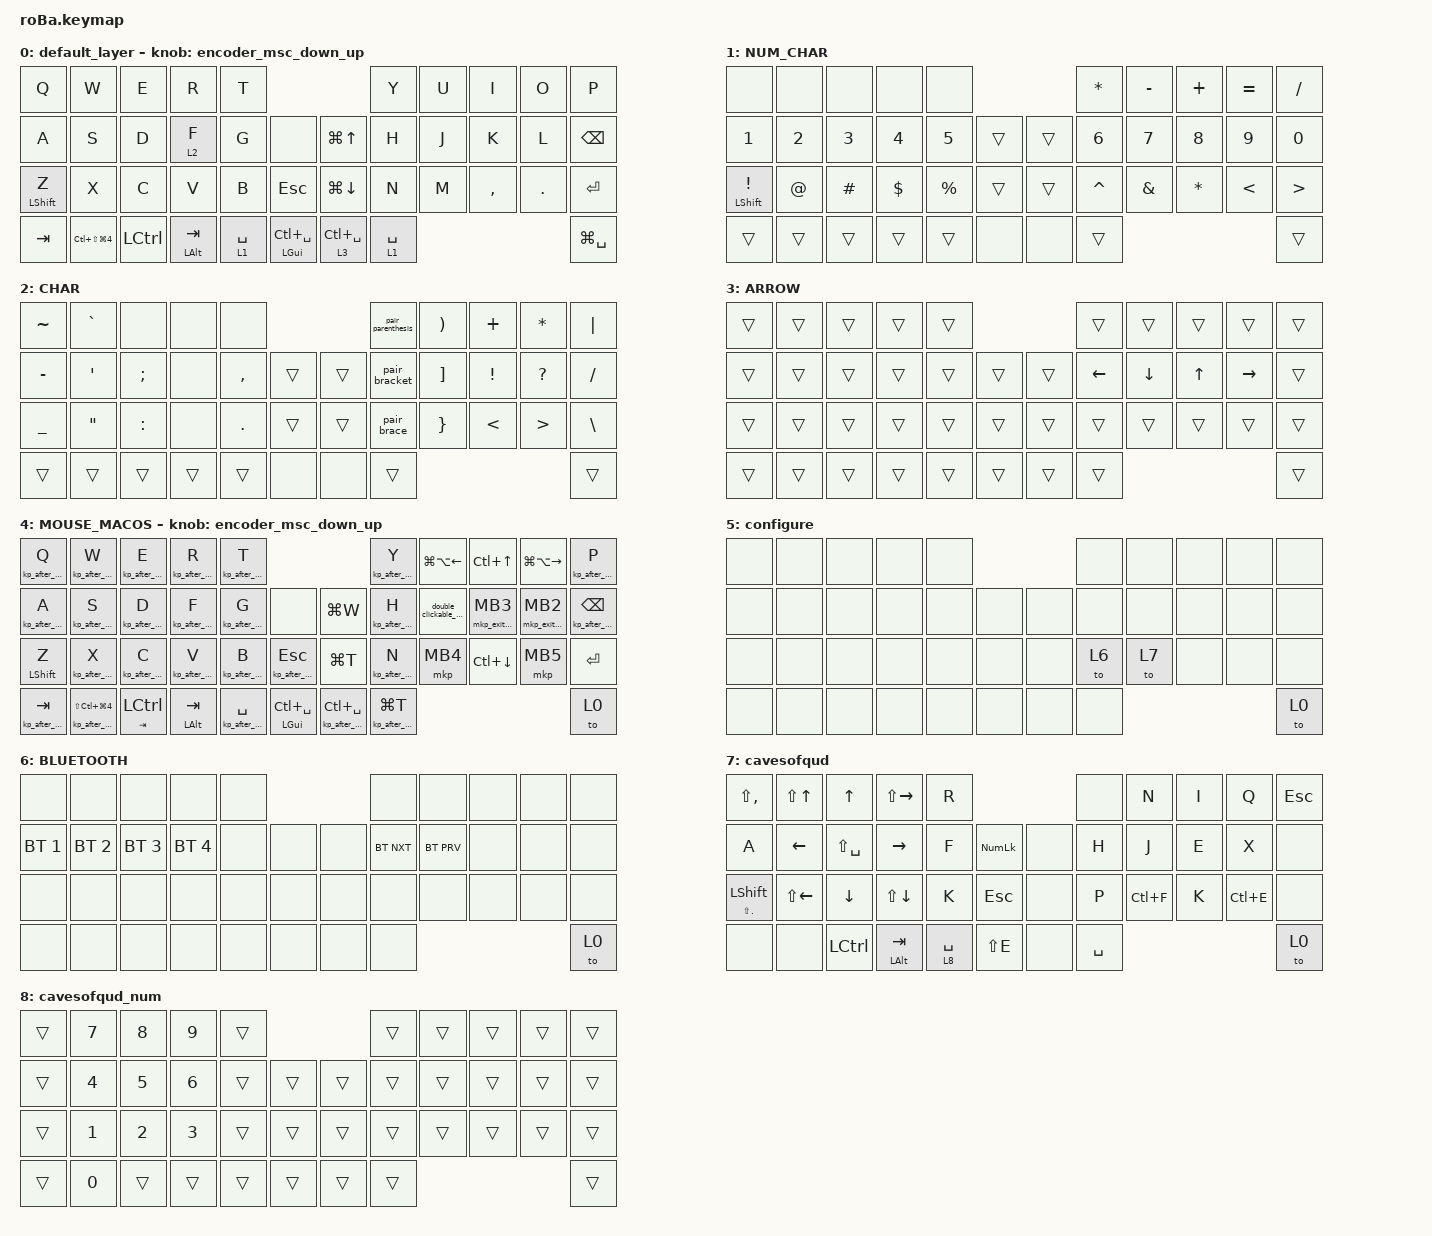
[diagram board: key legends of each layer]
#include <behaviors.dtsi>
#include <dt-bindings/zmk/bt.h>
#include <dt-bindings/zmk/keys.h>
#include <dt-bindings/zmk/pointing.h>

#define MOUSE 4
#define SCROLL 5
#define NUM 6
#define ZMK_POINTING_DEFAULT_SCRL_VAL 80

/ {
    combos {
        compatible = "zmk,combos";

        semicolon {
            bindings = <&kp SEMI>;
            key-positions = <18 19>;
        };

        to_conf {
            bindings = <&sl 5>;
            key-positions = <40 39>;
        };
    };

    macros {
        mkp_exit_AML: mkp_exit_AML {
            compatible = "zmk,behavior-macro-one-param";
            #binding-cells = <1>;
            bindings = <&macro_param_1to1 &mkp MACRO_PLACEHOLDER &exit_AML_250>;
            label = "MKP_EXIT_AML";
        };

        exit_AML_250: exit_AML_250 {
            compatible = "zmk,behavior-macro";
            wait-ms = <0>;
            tap-ms = <0>;
            #binding-cells = <0>;
            bindings = <&macro_wait_time 250>, <&exit_AML>;

            label = "exit_AML_250";
        };

        kp_after_exit_AML: kp_exit_AML {
            compatible = "zmk,behavior-macro-one-param";
            wait-ms = <0>;
            tap-ms = <0>;
            #binding-cells = <1>;
            bindings = <&exit_AML &macro_param_1to1 &kp MACRO_PLACEHOLDER>;
            label = "KP_exit_AML";
        };

        pair_bracket: bracket {
            compatible = "zmk,behavior-macro";
            #binding-cells = <0>;
            bindings = <&kp LEFT_BRACKET &kp RIGHT_BRACKET &kp LEFT>;
            label = "BRACKET";
        };

        pair_brace: brace {
            compatible = "zmk,behavior-macro";
            #binding-cells = <0>;
            bindings = <&kp LEFT_BRACE &kp RIGHT_BRACE &kp LEFT>;
            label = "BRACE";
        };

        pair_parenthesis: new_macro {
            compatible = "zmk,behavior-macro";
            #binding-cells = <0>;
            bindings = <&kp LEFT_PARENTHESIS &kp RIGHT_PARENTHESIS &kp LEFT>;
            label = "NEW_MACRO";
        };

        mkp_exit_AML_draggable: mkp_exit_AML_draggable {
            compatible = "zmk,behavior-macro-one-param";
            #binding-cells = <1>;
            bindings =
                <&macro_press>,
                <&macro_param_1to1 &mkp MACRO_PLACEHOLDER>,
                <&macro_pause_for_release>,
                <&macro_release>,
                <&macro_param_1to1 &mkp MACRO_PLACEHOLDER>,
                <&macro_tap>,
                <&exit_AML_250>;

            label = "MKP_EXIT_AML_DRAGGABLE";
        };

        exit_AML: exit_AML {
            compatible = "zmk,behavior-macro";
            wait-ms = <0>;
            tap-ms = <0>;
            #binding-cells = <0>;
            bindings = <&tog_off 4>;
            label = "EXIT_AML";
        };

        doubleclick_exit_AML: double_click {
            compatible = "zmk,behavior-macro";
            #binding-cells = <0>;
            bindings = <&mkp MB1 &mkp MB1 &exit_AML_250>;
            label = "DOUBLE_CLICK";
        };
    };

    behaviors {
        encoder_msc_down_up: encoder_msc_down_up {
            compatible = "zmk,behavior-sensor-rotate";
            label = "ENCODER_MSC_DOWN_UP";
            #sensor-binding-cells = <0>;
            bindings = <&msc SCRL_DOWN>, <&msc SCRL_UP>;

            tap-ms = <20>;
        };

        tog_off: toggle_layer_off {
            compatible = "zmk,behavior-toggle-layer";
            #binding-cells = <1>;
            display-name = "Toggle Layer Off";
            toggle-mode = "off";
        };

        mt_exit_AML_on_tap: mt_exit_AML_on_tap {
            compatible = "zmk,behavior-hold-tap";
            label = "MT_exit_AML_ON_TAP";
            bindings = <&kp>, <&kp_after_exit_AML>;

            #binding-cells = <2>;
            tapping-term-ms = <200>;
            flavor = "balanced";
            quick-tap-ms = <200>;
        };

        double_clickable_click: double_clickable_click {
            compatible = "zmk,behavior-tap-dance";
            label = "DOUBLE_CLICKABLE_CLICK";
            #binding-cells = <0>;
            tapping-term-ms = <200>;
            bindings = <&mkp_exit_AML_draggable MB1>, <&doubleclick_exit_AML>;
        };
    };

    keymap {
        compatible = "zmk,keymap";

        default_layer {
            bindings = <
&kp Q         &kp W                     &kp E      &kp R             &kp T                                                  &kp Y        &kp U  &kp I      &kp O       &kp P
&kp A         &kp S                     &kp D      &lt 2 F           &kp G        &none                   &kp LG(UP_ARROW)  &kp H        &kp J  &kp K      &kp L       &kp BACKSPACE
&mt LSHIFT Z  &kp X                     &kp C      &kp V             &kp B        &kp ESC                 &kp LG(DOWN)      &kp N        &kp M  &kp COMMA  &kp PERIOD  &kp ENTER
&kp TAB       &kp LC(LS(LG(NUMBER_4)))  &kp LCTRL  &mt LEFT_ALT TAB  &lt 1 SPACE  &mt LGUI LC(SPACE)      &lt 3 LC(SPACE)   &lt 1 SPACE                                &kp LG(SPACE)
            >;

            sensor-bindings = <&encoder_msc_down_up>;
        };

        NUM_CHAR {
            bindings = <
&none                   &none         &none         &none         &none                            &kp ASTRK     &kp MINUS      &kp PLUS      &kp EQUAL      &kp FSLH
&kp NUMBER_1            &kp NUMBER_2  &kp NUMBER_3  &kp NUMBER_4  &kp N5       &trans      &trans  &kp NUMBER_6  &kp N7         &kp NUMBER_8  &kp N9         &kp N0
&mt LSHIFT EXCLAMATION  &kp AT_SIGN   &kp HASH      &kp DOLLAR    &kp PERCENT  &trans      &trans  &kp CARET     &kp AMPERSAND  &kp ASTERISK  &kp LESS_THAN  &kp GREATER_THAN
&trans                  &trans        &trans        &trans        &trans       &none       &none   &trans                                                    &trans
            >;
        };

        CHAR {
            bindings = <
&kp TILDE       &kp GRAVE          &none          &none   &none                           &pair_parenthesis  &kp RPAR           &kp PLUS         &kp ASTERISK      &kp PIPE
&kp MINUS       &kp SQT            &kp SEMICOLON  &none   &kp COMMA   &trans      &trans  &pair_bracket      &kp RIGHT_BRACKET  &kp EXCLAMATION  &kp QUESTION      &kp SLASH
&kp UNDERSCORE  &kp DOUBLE_QUOTES  &kp COLON      &none   &kp PERIOD  &trans      &trans  &pair_brace        &kp RBRC           &kp LESS_THAN    &kp GREATER_THAN  &kp BACKSLASH
&trans          &trans             &trans         &trans  &trans      &none       &none   &trans                                                                   &trans
            >;
        };

        ARROW {
            bindings = <
&trans  &trans  &trans  &trans  &trans                      &trans    &trans    &trans  &trans     &trans
&trans  &trans  &trans  &trans  &trans  &trans      &trans  &kp LEFT  &kp DOWN  &kp UP  &kp RIGHT  &trans
&trans  &trans  &trans  &trans  &trans  &trans      &trans  &trans    &trans    &trans  &trans     &trans
&trans  &trans  &trans  &trans  &trans  &trans      &trans  &trans                                 &trans
            >;
        };

        MOUSE_MACOS {
            bindings = <
&kp_after_exit_AML Q              &kp_after_exit_AML W                     &kp_after_exit_AML E                  &kp_after_exit_AML R          &kp_after_exit_AML T                                                                            &kp_after_exit_AML Y      &kp LG(LA(LEFT))         &kp LC(UP)         &kp LG(LA(RIGHT))  &kp_after_exit_AML P
&kp_after_exit_AML A              &kp_after_exit_AML S                     &kp_after_exit_AML D                  &kp_after_exit_AML F          &kp_after_exit_AML G      &none                                   &kp LG(W)                     &kp_after_exit_AML H      &double_clickable_click  &mkp_exit_AML MB3  &mkp_exit_AML MB2  &kp_after_exit_AML BSPC
&mt_exit_AML_on_tap LEFT_SHIFT Z  &kp_after_exit_AML X                     &kp_after_exit_AML C                  &kp_after_exit_AML V          &kp_after_exit_AML B      &kp_after_exit_AML ESC                  &kp LG(T)                     &kp_after_exit_AML N      &mkp MB4                 &kp LC(DOWN)       &mkp MB5           &kp ENTER
&kp_after_exit_AML TAB            &kp_after_exit_AML LS(LC(LG(NUMBER_4)))  &mt_exit_AML_on_tap TAB LEFT_CONTROL  &mt_exit_AML_on_tap LALT TAB  &kp_after_exit_AML SPACE  &mt_exit_AML_on_tap LGUI LC(SPACE)      &kp_after_exit_AML LC(SPACE)  &kp_after_exit_AML LG(T)                                                                 &to 0
            >;

            sensor-bindings = <&encoder_msc_down_up>;
        };

        configure {
            bindings = <
&none  &none  &none  &none  &none                    &none  &none  &none  &none  &none
&none  &none  &none  &none  &none  &none      &none  &none  &none  &none  &none  &none
&none  &none  &none  &none  &none  &none      &none  &to 6  &to 7  &none  &none  &none
&none  &none  &none  &none  &none  &none      &none  &none                       &to 0
            >;
        };

        BLUETOOTH {
            bindings = <
&none         &none         &none         &none         &none                    &none       &none       &none  &none  &none
&bt BT_SEL 1  &bt BT_SEL 2  &bt BT_SEL 3  &bt BT_SEL 4  &none  &none      &none  &bt BT_NXT  &bt BT_PRV  &none  &none  &none
&none         &none         &none         &none         &none  &none      &none  &none       &none       &none  &none  &none
&none         &none         &none         &none         &none  &none      &none  &none                                 &to 0
            >;
        };

        cavesofqud {
            bindings = <
&kp LS(COMMA)       &kp LS(UP)    &kp UP         &kp LS(RIGHT)  &kp R                                   &none      &kp N      &kp I  &kp Q      &kp ESC
&kp A               &kp LEFT      &kp LS(SPACE)  &kp RIGHT      &kp F        &kp KP_NUMLOCK      &none  &kp H      &kp J      &kp E  &kp X      &none
&mt LS(DOT) LSHIFT  &kp LS(LEFT)  &kp DOWN       &kp LS(DOWN)   &kp K        &kp ESCAPE          &none  &kp P      &kp LC(F)  &kp K  &kp LC(E)  &none
&none               &none         &kp LCTRL      &mt LALT TAB   &lt 8 SPACE  &kp LS(E)           &none  &kp SPACE                               &to 0
            >;
        };

        cavesofqud_num {
            bindings = <
&trans  &kp N7  &kp N8  &kp N9  &trans                      &trans  &trans  &trans  &trans  &trans
&trans  &kp N4  &kp N5  &kp N6  &trans  &trans      &trans  &trans  &trans  &trans  &trans  &trans
&trans  &kp N1  &kp N2  &kp N3  &trans  &trans      &trans  &trans  &trans  &trans  &trans  &trans
&trans  &kp N0  &trans  &trans  &trans  &trans      &trans  &trans                          &trans
            >;
        };
    };

    conditional_layers { compatible = "zmk,conditional-layers"; };
};
